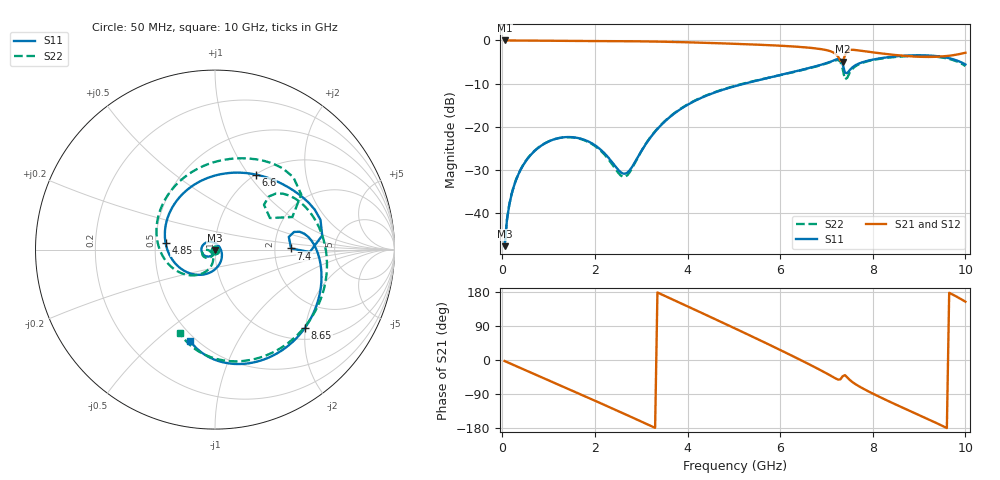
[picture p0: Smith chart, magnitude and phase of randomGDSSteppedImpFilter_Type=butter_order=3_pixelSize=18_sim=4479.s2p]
! freq	dB(S11)	phase(S11)	dB(S12)	phase(S12)
!  dB(S21)	phase(S21)	dB(S22)	phase(S22)
!S-par simulation data
#  GHz  S  DB  R 50
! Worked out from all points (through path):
!   200 points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, 50 MHz to 10 GHz, reference 50 ohm
!   highest |S21| = 0.00 dB at 50 MHz (marker M1); lowest = -4.9 dB at 7.35 GHz (marker M2)
!   group delay of S21, straight-line fit = 157 ps
!   lowest |S11| = -47.7 dB at 50 MHz (marker M3), VSWR 1.01, Z = 50 - j0.413 ohm
!   |S11| at or under -10 dB: start of sweep to 5.232 GHz
!   |S22| runs from -47.6 to -3.6 dB; largest |S21 - S12| = 0
!   S11 on the Smith chart (normalised r, x): 50 MHz: 1.00, -0.01; 4.85 GHz: 0.57, +0.04; 6.6 GHz: 1.00, +1.08; 7.4 GHz: 2.47, +0.04; 8.65 GHz: 1.28, -1.99; 10 GHz: 0.46, -0.65
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0.05  -47.68 -91.9  -0.00 -2.7  -0.00 -2.7  -47.57 -91.4
0.1  -41.67 -95.5  -0.00 -5.4  -0.00 -5.4  -41.56 -94.4
0.2  -35.70 -101.8  -0.00 -10.8  -0.00 -10.8  -35.60 -99.5
0.55  -27.36 -123.2  -0.03 -29.7  -0.03 -29.7  -27.28 -116.7
1.15  -22.82 -160.6  -0.09 -61.8  -0.09 -61.8  -22.81 -144.8
1.75  -22.95 158.6  -0.13 -93.9  -0.13 -93.9  -23.04 -169.4
2.65  -30.89 33.0  -0.17 -142.9  -0.17 -142.9  -31.60 -138.1
3.4  -19.94 -84.2  -0.28 175.3  -0.28 175.3  -19.84 -105.0
4.2  -13.79 -143.5  -0.49 130.3  -0.49 130.3  -13.71 -136.5
4.85  -11.13 172.5  -0.71 93.3  -0.71 93.3  -11.06 -166.6
5.05  -10.52 159.2  -0.79 81.9  -0.79 81.9  -10.44 -176.4
5.9  -8.27 104.3  -1.16 32.4  -1.16 32.4  -8.28 139.2
6.6  -6.45 61.6  -1.66 -9.7  -1.66 -9.7  -6.53 97.4
6.7  -6.18 55.6  -1.76 -15.9  -1.76 -15.9  -6.25 90.8
7.15  -4.67 26.4  -2.79 -45.5  -2.79 -45.5  -4.77 56.2
7.35  -5.54 -1.5  -4.93 -42.9  -4.93 -42.9  -6.61 22.8
7.4  -7.46 0.9  -3.44 -40.0  -3.44 -40.0  -9.04 29.9
7.7  -5.35 5.3  -2.32 -69.3  -2.32 -69.3  -5.53 32.6
8.35  -3.86 -26.8  -3.21 -109.2  -3.21 -109.2  -3.97 -10.2
8.65  -3.56 -40.9  -3.54 -126.1  -3.54 -126.1  -3.70 -28.5
9.4  -3.65 -75.7  -3.77 -167.8  -3.77 -167.8  -3.82 -73.0
10  -5.57 -105.3  -2.85 153.9  -2.85 153.9  -5.93 -112.9
